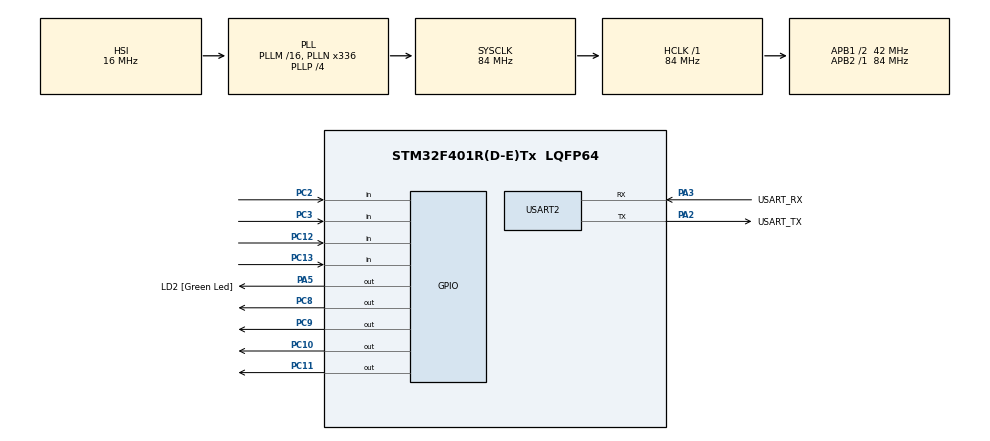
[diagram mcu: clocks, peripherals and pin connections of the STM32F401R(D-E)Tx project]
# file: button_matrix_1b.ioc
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Mcu.Family=STM32F4
Mcu.Name=STM32F401R(D-E)Tx
Mcu.Package=LQFP64
NVIC.PriorityGroup=NVIC_PRIORITYGROUP_0
NVIC.TIM2_IRQn=true\:0\:0\:false\:false\:true\:true\:true\:true
PA13.GPIO_Label=TMS
PA13.Mode=Serial_Wire
PA13.Signal=SYS_JTMS-SWDIO
PA14.GPIO_Label=TCK
PA14.Mode=Serial_Wire
PA14.Signal=SYS_JTCK-SWCLK
PA2.GPIO_Label=USART_TX
PA2.GPIO_Mode=GPIO_MODE_AF_PP
PA2.GPIO_PuPd=GPIO_NOPULL
PA2.GPIO_Speed=GPIO_SPEED_FREQ_LOW
PA2.Mode=Asynchronous
PA2.Signal=USART2_TX
PA3.GPIO_Label=USART_RX
PA3.GPIO_Mode=GPIO_MODE_AF_PP
PA3.GPIO_PuPd=GPIO_NOPULL
PA3.GPIO_Speed=GPIO_SPEED_FREQ_LOW
PA3.Mode=Asynchronous
PA3.Signal=USART2_RX
PA5.GPIO_Label=LD2 [Green Led]
PA5.GPIO_Mode=GPIO_MODE_OUTPUT_PP
PA5.GPIO_PuPd=GPIO_NOPULL
PA5.GPIO_Speed=GPIO_SPEED_FREQ_LOW
PA5.Signal=GPIO_Output
PB3.GPIO_Label=SWO
PB3.Signal=SYS_JTDO-SWO
PC10.Signal=GPIO_Output
PC11.Signal=GPIO_Output
PC12.Signal=GPIO_Input
PC13-ANTI_TAMP.Signal=GPIO_Input
PC14-OSC32_IN.Mode=LSE-External-Oscillator
PC14-OSC32_IN.Signal=RCC_OSC32_IN
PC15-OSC32_OUT.Mode=LSE-External-Oscillator
PC15-OSC32_OUT.Signal=RCC_OSC32_OUT
PC2.Signal=GPIO_Input
PC3.Signal=GPIO_Input
PC8.Signal=GPIO_Output
PC9.Signal=GPIO_Output
PH0\ -\ OSC_IN.Mode=HSE-External-Clock-Source
PH0\ -\ OSC_IN.Signal=RCC_OSC_IN
PH1\ -\ OSC_OUT.Mode=HSE-External-Clock-Source
PH1\ -\ OSC_OUT.Signal=RCC_OSC_OUT
ProjectManager.HeapSize=0x200
ProjectManager.StackSize=0x400
ProjectManager.TargetToolchain=STM32CubeIDE
RCC.48MHZClocksFreq_Value=48000000
RCC.AHBFreq_Value=84000000
RCC.APB1CLKDivider=RCC_HCLK_DIV2
RCC.APB1Freq_Value=42000000
RCC.APB1TimFreq_Value=84000000
RCC.APB2Freq_Value=84000000
RCC.APB2TimFreq_Value=84000000
RCC.CortexFreq_Value=84000000
RCC.HCLKFreq_Value=84000000
RCC.HSE_VALUE=8000000
RCC.HSI_VALUE=16000000
RCC.PLLN=336
RCC.PLLP=RCC_PLLP_DIV4
RCC.PLLQ=7
RCC.SYSCLKFreq_VALUE=84000000
RCC.SYSCLKSource=RCC_SYSCLKSOURCE_PLLCLK
RCC.VCOOutputFreq_Value=336000000
TIM2.AutoReloadPreload=TIM_AUTORELOAD_PRELOAD_ENABLE
TIM2.Period=50000-1
TIM2.Prescaler=84-1
USART2.VirtualMode=VM_ASYNC
VP_TIM2_VS_ClockSourceINT.Mode=Internal
board=NUCLEO-F401RE

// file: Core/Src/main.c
/* USER CODE BEGIN Header */
/**
  ******************************************************************************
  * @file           : main.c
  * @brief          : Main program body
  ******************************************************************************
  * @attention
  *
  * Copyright (c) 2022 STMicroelectronics.
  * All rights reserved.
  *
  * This software is licensed under terms that can be found in the LICENSE file
  * in the root directory of this software component.
  * If no LICENSE file comes with this software, it is provided AS-IS.
  *
  ******************************************************************************
  */
/* USER CODE END Header */
#include "main.h"

/* USER CODE BEGIN Includes */
#include <string.h>
#include <stdio.h>
/* USER CODE END Includes */

TIM_HandleTypeDef htim2;

UART_HandleTypeDef huart2;

/* USER CODE BEGIN PV */
uint16_t COL_PINS[4] = {GPIO_PIN_8, GPIO_PIN_9, GPIO_PIN_10, GPIO_PIN_11};
uint16_t ROW_PINS[4] = {GPIO_PIN_12, GPIO_PIN_13, GPIO_PIN_2, GPIO_PIN_3};
char characters[16] = "0123456789ABCDEF";
int time_pressed[16] = {0, 0, 0, 0, 0, 0, 0, 0, 0, 0, 0, 0, 0, 0, 0, 0};
int pressed[16]      = {0, 0, 0, 0, 0, 0, 0, 0, 0, 0, 0, 0, 0, 0, 0, 0};
int column_index = 0;
/* USER CODE END PV */

void SystemClock_Config(void);
static void MX_GPIO_Init(void);
static void MX_USART2_UART_Init(void);
static void MX_TIM2_Init(void);

int main(void)
{

  /* MCU Configuration--------------------------------------------------------*/

  /* Reset of all peripherals, Initializes the Flash interface and the Systick. */
  HAL_Init();

  /* Configure the system clock */
  SystemClock_Config();

  /* Initialize all configured peripherals */
  MX_GPIO_Init();
  MX_USART2_UART_Init();
  MX_TIM2_Init();
  /* USER CODE BEGIN 2 */
  HAL_TIM_Base_Start_IT(&htim2);
  char string[8];
  int index;
  /* USER CODE END 2 */

  /* Infinite loop */
  while (1)
  {

    /* USER CODE BEGIN 3 */
	for(int i = 0; i < 4; i++){
		for(int j = 0; j < 4; j++){
			index = 4*j + i;
			if(time_pressed[index] > 3 && pressed[index] == 0){
				pressed[index] = 1;
				snprintf(string, 8, "%c\r\n", characters[index]);
				HAL_UART_Transmit(&huart2, string, strlen(string), 100);
			}
		}
	}
  }
  /* USER CODE END 3 */
}

void SystemClock_Config(void)
{
  RCC_OscInitTypeDef RCC_OscInitStruct = {0};
  RCC_ClkInitTypeDef RCC_ClkInitStruct = {0};

  /** Configure the main internal regulator output voltage
  */
  __HAL_RCC_PWR_CLK_ENABLE();
  __HAL_PWR_VOLTAGESCALING_CONFIG(PWR_REGULATOR_VOLTAGE_SCALE2);

  /** Initializes the RCC Oscillators according to the specified parameters
  * in the RCC_OscInitTypeDef structure.
  */
  RCC_OscInitStruct.OscillatorType = RCC_OSCILLATORTYPE_HSI;
  RCC_OscInitStruct.HSIState = RCC_HSI_ON;
  RCC_OscInitStruct.HSICalibrationValue = RCC_HSICALIBRATION_DEFAULT;
  RCC_OscInitStruct.PLL.PLLState = RCC_PLL_ON;
  RCC_OscInitStruct.PLL.PLLSource = RCC_PLLSOURCE_HSI;
  RCC_OscInitStruct.PLL.PLLM = 16;
  RCC_OscInitStruct.PLL.PLLN = 336;
  RCC_OscInitStruct.PLL.PLLP = RCC_PLLP_DIV4;
  RCC_OscInitStruct.PLL.PLLQ = 7;
  if (HAL_RCC_OscConfig(&RCC_OscInitStruct) != HAL_OK)
  {
    Error_Handler();
  }

  /** Initializes the CPU, AHB and APB buses clocks
  */
  RCC_ClkInitStruct.ClockType = RCC_CLOCKTYPE_HCLK|RCC_CLOCKTYPE_SYSCLK
                              |RCC_CLOCKTYPE_PCLK1|RCC_CLOCKTYPE_PCLK2;
  RCC_ClkInitStruct.SYSCLKSource = RCC_SYSCLKSOURCE_PLLCLK;
  RCC_ClkInitStruct.AHBCLKDivider = RCC_SYSCLK_DIV1;
  RCC_ClkInitStruct.APB1CLKDivider = RCC_HCLK_DIV2;
  RCC_ClkInitStruct.APB2CLKDivider = RCC_HCLK_DIV1;

  if (HAL_RCC_ClockConfig(&RCC_ClkInitStruct, FLASH_LATENCY_2) != HAL_OK)
  {
    Error_Handler();
  }
}

static void MX_TIM2_Init(void)
{

  TIM_ClockConfigTypeDef sClockSourceConfig = {0};
  TIM_MasterConfigTypeDef sMasterConfig = {0};

  htim2.Instance = TIM2;
  htim2.Init.Prescaler = 84-1;
  htim2.Init.CounterMode = TIM_COUNTERMODE_UP;
  htim2.Init.Period = 50000-1;
  htim2.Init.ClockDivision = TIM_CLOCKDIVISION_DIV1;
  htim2.Init.AutoReloadPreload = TIM_AUTORELOAD_PRELOAD_ENABLE;
  if (HAL_TIM_Base_Init(&htim2) != HAL_OK)
  {
    Error_Handler();
  }
  sClockSourceConfig.ClockSource = TIM_CLOCKSOURCE_INTERNAL;
  if (HAL_TIM_ConfigClockSource(&htim2, &sClockSourceConfig) != HAL_OK)
  {
    Error_Handler();
  }
  sMasterConfig.MasterOutputTrigger = TIM_TRGO_RESET;
  sMasterConfig.MasterSlaveMode = TIM_MASTERSLAVEMODE_DISABLE;
  if (HAL_TIMEx_MasterConfigSynchronization(&htim2, &sMasterConfig) != HAL_OK)
  {
    Error_Handler();
  }

}

static void MX_USART2_UART_Init(void)
{

  huart2.Instance = USART2;
  huart2.Init.BaudRate = 115200;
  huart2.Init.WordLength = UART_WORDLENGTH_8B;
  huart2.Init.StopBits = UART_STOPBITS_1;
  huart2.Init.Parity = UART_PARITY_NONE;
  huart2.Init.Mode = UART_MODE_TX_RX;
  huart2.Init.HwFlowCtl = UART_HWCONTROL_NONE;
  huart2.Init.OverSampling = UART_OVERSAMPLING_16;
  if (HAL_UART_Init(&huart2) != HAL_OK)
  {
    Error_Handler();
  }

}

static void MX_GPIO_Init(void)
{
  GPIO_InitTypeDef GPIO_InitStruct = {0};

  /* GPIO Ports Clock Enable */
  __HAL_RCC_GPIOC_CLK_ENABLE();
  __HAL_RCC_GPIOH_CLK_ENABLE();
  __HAL_RCC_GPIOA_CLK_ENABLE();
  __HAL_RCC_GPIOB_CLK_ENABLE();

  /*Configure GPIO pin Output Level */
  HAL_GPIO_WritePin(LD2_GPIO_Port, LD2_Pin, GPIO_PIN_RESET);

  /*Configure GPIO pin Output Level */
  HAL_GPIO_WritePin(GPIOC, GPIO_PIN_8|GPIO_PIN_9|GPIO_PIN_10|GPIO_PIN_11, GPIO_PIN_RESET);

  /*Configure GPIO pins : PC13 PC2 PC3 PC12 */
  GPIO_InitStruct.Pin = GPIO_PIN_13|GPIO_PIN_2|GPIO_PIN_3|GPIO_PIN_12;
  GPIO_InitStruct.Mode = GPIO_MODE_INPUT;
  GPIO_InitStruct.Pull = GPIO_NOPULL;
  HAL_GPIO_Init(GPIOC, &GPIO_InitStruct);

  /*Configure GPIO pin : LD2_Pin */
  GPIO_InitStruct.Pin = LD2_Pin;
  GPIO_InitStruct.Mode = GPIO_MODE_OUTPUT_PP;
  GPIO_InitStruct.Pull = GPIO_NOPULL;
  GPIO_InitStruct.Speed = GPIO_SPEED_FREQ_LOW;
  HAL_GPIO_Init(LD2_GPIO_Port, &GPIO_InitStruct);

  /*Configure GPIO pins : PC8 PC9 PC10 PC11 */
  GPIO_InitStruct.Pin = GPIO_PIN_8|GPIO_PIN_9|GPIO_PIN_10|GPIO_PIN_11;
  GPIO_InitStruct.Mode = GPIO_MODE_OUTPUT_PP;
  GPIO_InitStruct.Pull = GPIO_NOPULL;
  GPIO_InitStruct.Speed = GPIO_SPEED_FREQ_LOW;
  HAL_GPIO_Init(GPIOC, &GPIO_InitStruct);

}

/* USER CODE BEGIN 4 */
void HAL_TIM_PeriodElapsedCallback(TIM_HandleTypeDef *htim){
	for(int row_index = 0; row_index < 4; row_index++){
		int cur = 4*row_index + column_index;
		if(HAL_GPIO_ReadPin(GPIOC, ROW_PINS[row_index]) == GPIO_PIN_RESET){
			time_pressed[cur]++;
		}else{
			pressed[cur] = 0;
			time_pressed[cur] = 0;
		}
	}

	if(++column_index > 3){
		column_index = 0;
	}

	for(int i = 0; i < 4; i++){
		HAL_GPIO_WritePin(GPIOC, COL_PINS[i], (i == column_index) ? GPIO_PIN_SET : GPIO_PIN_RESET);
	}
}
/* USER CODE END 4 */

void Error_Handler(void)
{
  __disable_irq();
  while (1)
  {
  }
}
